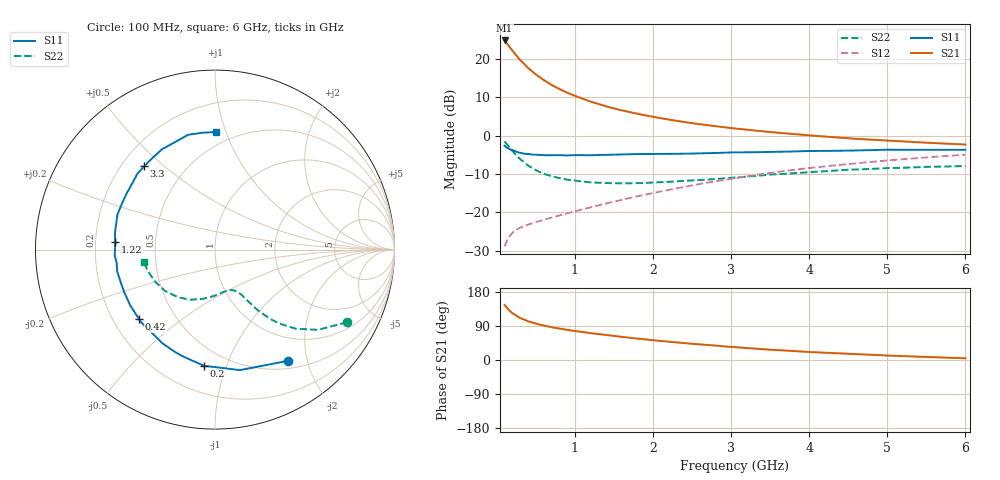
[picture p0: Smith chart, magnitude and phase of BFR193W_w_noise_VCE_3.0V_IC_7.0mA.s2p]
! Infineon Technologies  Discrete & RF Semiconductors
! BFR193W
! VCE =  3.0 V,  IC =  7.0 mA
! Common Emitter S-Parameters:  Nov 2015
# GHz  S  MA  R  50
!  f  S11  S21  S12  S22
! GHz  MAG  ANG  MAG  ANG  MAG  ANG  MAG  ANG
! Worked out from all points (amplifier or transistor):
!   192 points, 100 MHz to 6 GHz, reference 50 ohm
!   highest |S21| = 24.9 dB at 100 MHz (marker M1)
!   |S21| within 3 dB of that: start of sweep to 213.5 MHz
!   unconditionally stable (mu >= 1): 1.112 GHz to 2.568 GHz
!   at 440 MHz: K = 0.61, MSG = 20.0 dB, |S12| = -22.9 dB
!   at 1.7 GHz: K = 1.05, MAG = 9.8 dB, |S12| = -16.3 dB
!   at 6 GHz: K = 0.90, MSG = 1.3 dB, |S12| = -4.9 dB
!   lowest NFmin = 1.20 dB at 450 MHz
!   S11 on the Smith chart (normalised r, x): 100 MHz: 0.61, -1.68; 200 MHz: 0.37, -0.84; 420 MHz: 0.31, -0.36; 1.22 GHz: 0.28, +0.03; 3.3 GHz: 0.29, +0.43; 6 GHz: 0.40, +0.92
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0.1  0.7406 -56.8  17.5 145.2  0.0362 63.4  0.8406 -28.8
0.15  0.6858 -78.3  15 132.7  0.047 55.8  0.7275 -37.9
0.2  0.6501 -95.4  12.89 123.3  0.054 50.5  0.6318 -44.3
0.24  0.6225 -106.0  11.45 117.8  0.0581 48.1  0.5674 -47.7
0.26  0.6135 -110.8  10.82 115.2  0.06 47.1  0.54 -49.2
0.3  0.599 -119.1  9.714 110.6  0.0631 45.7  0.4942 -51.5
0.4  0.5776 -135.2  7.661 102.1  0.0692 44.8  0.4086 -55.0
0.42  0.5735 -137.4  7.382 101.0  0.0703 44.9  0.3979 -55.3
0.5  0.5658 -146.3  6.299 95.9  0.0746 45.5  0.3551 -56.8
0.6  0.5587 -155.0  5.335 90.9  0.08 46.9  0.3191 -58.4
0.7  0.5559 -161.8  4.604 86.5  0.0853 48.7  0.2959 -59.3
0.9  0.5526 -172.2  3.639 79.4  0.0971 52.2  0.2671 -61.6
1.1  0.5572 -180.0  3.045 73.8  0.1098 55.1  0.2525 -64.7
1.22  0.5573 175.7  2.75 70.4  0.1177 56.5  0.2455 -66.7
1.6  0.5694 164.9  2.143 60.9  0.1458 60.0  0.2385 -73.6
2.08  0.5781 153.7  1.705 50.7  0.1857 62.1  0.2468 -83.8
2.5  0.585 145.0  1.455 42.7  0.2244 62.1  0.2604 -92.5
3.1  0.6058 133.8  1.228 33.1  0.2846 59.9  0.2869 -106.3
3.3  0.6088 130.4  1.171 30.3  0.306 58.7  0.2978 -111.4
4.1  0.6323 116.5  0.992 20.2  0.3884 52.7  0.3391 -130.1
5.1  0.6557 101.8  0.851 11.1  0.4847 43.7  0.3797 -153.6
6  0.6548 89.7  0.767 4.6  0.5656 34.7  0.4029 -169.9
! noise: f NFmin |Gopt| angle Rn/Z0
0.45  1.2  0.24  125  0.12
0.9  1.25  0.36  154  0.11
1.8  2  0.55  -156  0.13
